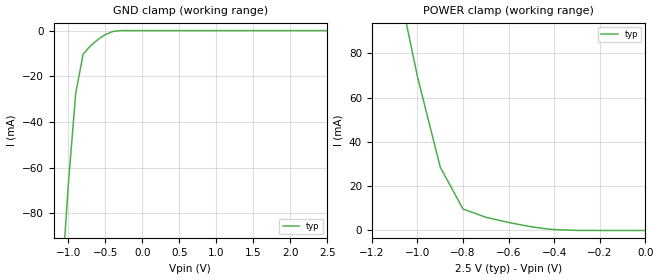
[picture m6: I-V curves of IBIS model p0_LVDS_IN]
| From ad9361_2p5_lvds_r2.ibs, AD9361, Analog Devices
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[model] p0_LVDS_IN
Model_type Input
Vinl = 0.875
Vinh = 1.625
C_comp 4pF NA NA
| variable   typ   min   max
[Voltage Range]   2.500V  NA   NA
[GND Clamp Reference]   0.000V  NA   NA
[POWER Clamp Reference] 2.500V  NA   NA
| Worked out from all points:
|   GND clamp passes 1 mA (typ) near -0.44 V on its own axis
|   POWER clamp passes 1 mA (typ) near -0.45 V on its own axis
[GND Clamp]
| Voltage  I(typ)   I(min)  I(max)
-2.5V     -898mA     NA         NA
-1.1V     -116mA     NA         NA
-1V       -67.3mA    NA         NA
-900mV    -27.5mA    NA         NA
-800mV    -10.4mA    NA         NA
-700mV    -6.65mA    NA         NA
-500mV    -1.77mA    NA         NA
-400mV    -401uA     NA         NA
-300mV    -24.2uA    NA         NA
2.5V      925pA      NA         NA
[POWER Clamp]
| Note: the[POWER_clamp] voltage table is relative to Vcc
| and is calculated using Vtable = Vcc - Vmeasured.
| Voltage  I(typ)   I(min)  I(max)
-2.5V     903mA      NA         NA
-1.1V     119mA      NA         NA
-1V       69.5mA     NA         NA
-900mV    28.6mA     NA         NA
-800mV    9.65mA     NA         NA
-700mV    5.97mA     NA         NA
-600mV    3.6mA      NA         NA
-441mV    820uA      NA         NA
-300mV    32.4uA     NA         NA
0V        925pA      NA         NA
